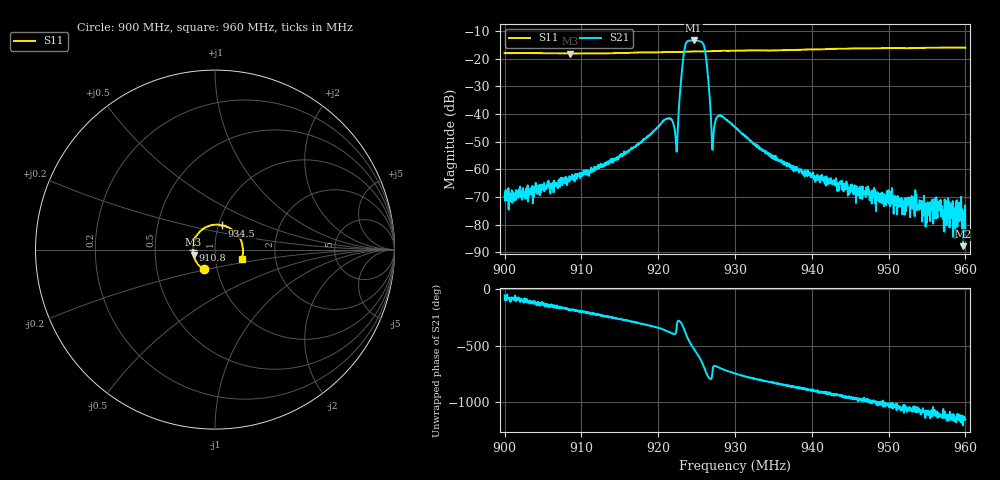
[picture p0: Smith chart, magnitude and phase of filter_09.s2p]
!Agilent Technologies,E5071C,MY46214392,A.11.36
!Date: Thu Feb 26 21:28:44 2026
!Data & Calibration Information:
!Freq	S11:NONE(--)	S21:NONE(--)	S12:NONE(--)	S22:NONE(--)
!PortZ  Port1:50+j0  Port2:50+j0
!Above PortZ is port z conversion or system Z0 setting when saving the data.
!When reading, reference impedance value at option line is always used.
# Hz S dB R 50
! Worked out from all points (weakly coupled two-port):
!   1601 points, 900 MHz to 960 MHz, reference 50 ohm
!   highest |S21| = -13.48 dB at 924.6 MHz (marker M1); lowest = -87.7 dB at 959.7 MHz (marker M2)
!   lowest |S11| = -18.2 dB at 908.5 MHz (marker M3), VSWR 1.28, Z = 39.3 - j2.3 ohm
!   |S11| at or under -10 dB: start of sweep to end of sweep
!   S12 and S22 are empty: the file has one direction only
!   S11 on the Smith chart (normalised r, x): 900 MHz: 0.86, -0.19; 910.8 MHz: 0.78, -0.01; 934.5 MHz: 1.04, +0.28; 960 MHz: 1.34, -0.14
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9e8  -18.06 -120.1  -69.85 -53.7  -200.00 0.0  -200.00 0.0
9.0855e8  -18.21 -166.5  -63.92 -178.3  -200.00 0.0  -200.00 0.0
9.100125e8  -18.19 -174.0  -62.11 164.4  -200.00 0.0  -200.00 0.0
9.108375e8  -18.13 -178.2  -61.14 153.1  -200.00 0.0  -200.00 0.0
9.20025e8  -17.75 136.7  -44.53 18.4  -200.00 0.0  -200.00 0.0
9.21525e8  -17.61 129.5  -41.74 -22.4  -200.00 0.0  -200.00 0.0
9.2235e8  -17.62 125.5  -52.34 -10.0  -200.00 0.0  -200.00 0.0
9.234375e8  -17.59 121.1  -16.47 -5.3  -200.00 0.0  -200.00 0.0
9.24e8  -17.51 118.7  -13.57 -96.5  -200.00 0.0  -200.00 0.0
9.246e8  -17.45 115.8  -13.48 -163.7  -200.00 0.0  -200.00 0.0
9.25425e8  -17.41 111.9  -13.77 107.6  -200.00 0.0  -200.00 0.0
9.26025e8  -17.46 109.3  -16.10 17.3  -200.00 0.0  -200.00 0.0
9.264375e8  -17.41 107.9  -25.11 -48.2  -200.00 0.0  -200.00 0.0
9.26925e8  -17.35 105.8  -44.78 -71.9  -200.00 0.0  -200.00 0.0
9.2715e8  -17.32 104.8  -49.70 29.4  -200.00 0.0  -200.00 0.0
9.27975e8  -17.26 101.1  -40.64 22.6  -200.00 0.0  -200.00 0.0
9.3e8  -17.18 92.5  -44.81 -27.5  -200.00 0.0  -200.00 0.0
9.344625e8  -17.12 74.6  -54.29 -103.2  -200.00 0.0  -200.00 0.0
9.400125e8  -16.74 54.7  -62.13 -176.2  -200.00 0.0  -200.00 0.0
9.50025e8  -16.23 17.8  -70.11 60.8  -200.00 0.0  -200.00 0.0
9.597e8  -16.07 -18.2  -87.74 -57.1  -200.00 0.0  -200.00 0.0
9.6e8  -16.09 -19.3  -84.75 -75.3  -200.00 0.0  -200.00 0.0
